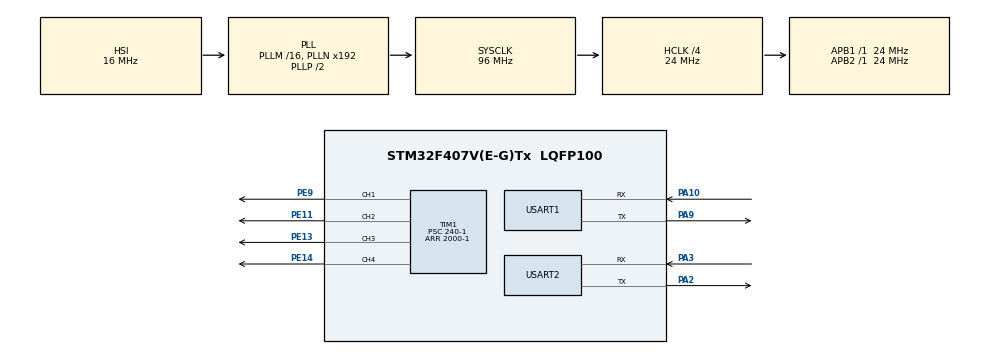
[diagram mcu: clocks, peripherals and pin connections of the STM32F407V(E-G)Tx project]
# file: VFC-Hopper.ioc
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Dma.Request0=USART2_RX
Dma.USART2_RX.0.Direction=DMA_PERIPH_TO_MEMORY
Dma.USART2_RX.0.FIFOMode=DMA_FIFOMODE_DISABLE
Dma.USART2_RX.0.Instance=DMA1_Stream5
Dma.USART2_RX.0.MemDataAlignment=DMA_MDATAALIGN_BYTE
Dma.USART2_RX.0.MemInc=DMA_MINC_ENABLE
Dma.USART2_RX.0.Mode=DMA_NORMAL
Dma.USART2_RX.0.PeriphDataAlignment=DMA_PDATAALIGN_BYTE
Dma.USART2_RX.0.PeriphInc=DMA_PINC_DISABLE
Dma.USART2_RX.0.Priority=DMA_PRIORITY_LOW
FREERTOS.BinarySemaphores01=semPWMPending,Dynamic,NULL;semUART2Data,Dynamic,NULL
FREERTOS.INCLUDE_pcTaskGetTaskName=1
FREERTOS.INCLUDE_uxTaskGetStackHighWaterMark2=1
FREERTOS.INCLUDE_xEventGroupSetBitFromISR=1
FREERTOS.INCLUDE_xSemaphoreGetMutexHolder=1
FREERTOS.INCLUDE_xTaskGetCurrentTaskHandle=1
FREERTOS.INCLUDE_xTaskGetHandle=1
FREERTOS.Tasks01=defaultTask,24,128,StartDefaultTask,Default,NULL,Dynamic,NULL,NULL;task_UpdatePWM,48,128,MTR_TaskUpdate,As external,NULL,Dynamic,NULL,NULL
FREERTOS.configGENERATE_RUN_TIME_STATS=1
FREERTOS.configUSE_STATS_FORMATTING_FUNCTIONS=1
Mcu.Family=STM32F4
Mcu.Name=STM32F407V(E-G)Tx
Mcu.Package=LQFP100
NVIC.DMA1_Stream5_IRQn=true\:5\:0\:false\:false\:true\:true\:false\:true
NVIC.PriorityGroup=NVIC_PRIORITYGROUP_4
NVIC.TIM2_IRQn=true\:0\:0\:false\:false\:true\:false\:false\:true
NVIC.TimeBase=TIM2_IRQn
NVIC.TimeBaseIP=TIM2
PA10.Mode=Asynchronous
PA10.Signal=USART1_RX
PA2.Mode=Asynchronous
PA2.Signal=USART2_TX
PA3.Mode=Asynchronous
PA3.Signal=USART2_RX
PA9.Mode=Asynchronous
PA9.Signal=USART1_TX
PE11.Signal=S_TIM1_CH2
PE13.Signal=S_TIM1_CH3
PE14.Signal=S_TIM1_CH4
PE9.Signal=S_TIM1_CH1
ProjectManager.HeapSize=0x200
ProjectManager.StackSize=0x400
ProjectManager.TargetToolchain=STM32CubeIDE
RCC.AHBCLKDivider=RCC_SYSCLK_DIV4
RCC.AHBFreq_Value=24000000
RCC.APB1Freq_Value=24000000
RCC.APB1TimFreq_Value=24000000
RCC.APB2Freq_Value=24000000
RCC.APB2TimFreq_Value=24000000
RCC.CortexFreq_Value=24000000
RCC.HCLKFreq_Value=24000000
RCC.HSE_VALUE=25000000
RCC.HSI_VALUE=16000000
RCC.LSE_VALUE=32768
RCC.SYSCLKFreq_VALUE=96000000
RCC.SYSCLKSource=RCC_SYSCLKSOURCE_PLLCLK
RCC.VCOOutputFreq_Value=192000000
SH.S_TIM1_CH1.0=TIM1_CH1,PWM Generation1 CH1
SH.S_TIM1_CH2.0=TIM1_CH2,PWM Generation2 CH2
SH.S_TIM1_CH3.0=TIM1_CH3,PWM Generation3 CH3
SH.S_TIM1_CH4.0=TIM1_CH4,PWM Generation4 CH4
TIM1.Channel-PWM\ Generation1\ CH1=TIM_CHANNEL_1
TIM1.Channel-PWM\ Generation2\ CH2=TIM_CHANNEL_2
TIM1.Channel-PWM\ Generation3\ CH3=TIM_CHANNEL_3
TIM1.Channel-PWM\ Generation4\ CH4=TIM_CHANNEL_4
TIM1.CounterMode=TIM_COUNTERMODE_CENTERALIGNED1
TIM1.Period=2000-1
TIM1.Prescaler=240-1
TIM1.Pulse-PWM\ Generation1\ CH1=1005
TIM1.Pulse-PWM\ Generation2\ CH2=1005
TIM1.Pulse-PWM\ Generation3\ CH3=1005
TIM1.Pulse-PWM\ Generation4\ CH4=1005
USART1.VirtualMode=VM_ASYNC
USART2.VirtualMode=VM_ASYNC
VP_FREERTOS_VS_CMSIS_V2.Mode=CMSIS_V2
VP_SYS_VS_tim2.Mode=TIM2
board=custom

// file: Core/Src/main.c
/* USER CODE BEGIN Header */
/**
  ******************************************************************************
  * @file           : main.c
  * @brief          : Main program body
  ******************************************************************************
  * @attention
  *
  * <h2><center>&copy; Copyright (c) 2021 STMicroelectronics.
  * All rights reserved.</center></h2>
  *
  * This software component is licensed by ST under BSD 3-Clause license,
  * the "License"; You may not use this file except in compliance with the
  * License. You may obtain a copy of the License at:
  *                        opensource.org/licenses/BSD-3-Clause
  *
  ******************************************************************************
  */
/* USER CODE END Header */
#include "main.h"
#include "cmsis_os.h"

/* USER CODE BEGIN Includes */
#include <SEGGER_SYSVIEW.h>
#include "motor_driver.h"

#include "px4flow.h"
/* USER CODE END Includes */

/* USER CODE BEGIN PD */
#define UART2_BUFFER_SIZE 64
/* USER CODE END PD */

TIM_HandleTypeDef htim1;

UART_HandleTypeDef huart1;
UART_HandleTypeDef huart2;
DMA_HandleTypeDef hdma_usart2_rx;

/* Definitions for defaultTask */
osThreadId_t defaultTaskHandle;
const osThreadAttr_t defaultTask_attributes = {
  .name = "defaultTask",
  .priority = (osPriority_t) osPriorityNormal,
  .stack_size = 128 * 4
};
/* Definitions for task_UpdatePWM */
osThreadId_t task_UpdatePWMHandle;
const osThreadAttr_t task_UpdatePWM_attributes = {
  .name = "task_UpdatePWM",
  .priority = (osPriority_t) osPriorityRealtime,
  .stack_size = 128 * 4
};
/* Definitions for semPWMPending */
osSemaphoreId_t semPWMPendingHandle;
const osSemaphoreAttr_t semPWMPending_attributes = {
  .name = "semPWMPending"
};
/* Definitions for semUART2Data */
osSemaphoreId_t semUART2DataHandle;
const osSemaphoreAttr_t semUART2Data_attributes = {
  .name = "semUART2Data"
};
/* USER CODE BEGIN PV */
uint8_t uart2Buffer[UART2_BUFFER_SIZE] = {0};

uint8_t mavlinkBuffer[300] = {0};
size_t 	mavlinkBufferIdx = 0;
/* USER CODE END PV */

void SystemClock_Config(void);
static void MX_GPIO_Init(void);
static void MX_DMA_Init(void);
static void MX_TIM1_Init(void);
static void MX_USART2_UART_Init(void);
static void MX_USART1_UART_Init(void);
void StartDefaultTask(void *argument);
extern void MTR_TaskUpdate(void *argument);

int main(void)
{

  /* MCU Configuration--------------------------------------------------------*/

  /* Reset of all peripherals, Initializes the Flash interface and the Systick. */
  HAL_Init();

  /* Configure the system clock */
  SystemClock_Config();

  /* USER CODE BEGIN SysInit */
  SEGGER_SYSVIEW_Conf();

  /* USER CODE END SysInit */

  /* Initialize all configured peripherals */
  MX_GPIO_Init();
  MX_DMA_Init();
  MX_TIM1_Init();
  MX_USART2_UART_Init();
  MX_USART1_UART_Init();
  /* USER CODE BEGIN 2 */
  HAL_TIM_PWM_Start(&htim1, TIM_CHANNEL_1);
  HAL_TIM_PWM_Start(&htim1, TIM_CHANNEL_2);
  HAL_TIM_PWM_Start(&htim1, TIM_CHANNEL_3);
  HAL_TIM_PWM_Start(&htim1, TIM_CHANNEL_4);
 // UART2_Read();
  HAL_UART_Receive_DMA(&huart2, &uart2Buffer, UART2_BUFFER_SIZE);
  MTR_Init(&htim1, &semPWMPendingHandle);

  /* USER CODE END 2 */

  /* Init scheduler */
  osKernelInitialize();

  /* Create the semaphores(s) */
  /* creation of semPWMPending */
  semPWMPendingHandle = osSemaphoreNew(1, 1, &semPWMPending_attributes);

  /* creation of semUART2Data */
  semUART2DataHandle = osSemaphoreNew(1, 1, &semUART2Data_attributes);

  /* Create the thread(s) */
  /* creation of defaultTask */
  defaultTaskHandle = osThreadNew(StartDefaultTask, NULL, &defaultTask_attributes);

  /* creation of task_UpdatePWM */
  task_UpdatePWMHandle = osThreadNew(MTR_TaskUpdate, NULL, &task_UpdatePWM_attributes);

  /* Start scheduler */
  osKernelStart();

  /* We should never get here as control is now taken by the scheduler */
  /* Infinite loop */
  while (1)
  {

  }
}

void SystemClock_Config(void)
{
  RCC_OscInitTypeDef RCC_OscInitStruct = {0};
  RCC_ClkInitTypeDef RCC_ClkInitStruct = {0};

  /** Configure the main internal regulator output voltage
  */
  __HAL_RCC_PWR_CLK_ENABLE();
  __HAL_PWR_VOLTAGESCALING_CONFIG(PWR_REGULATOR_VOLTAGE_SCALE1);
  /** Initializes the RCC Oscillators according to the specified parameters
  * in the RCC_OscInitTypeDef structure.
  */
  RCC_OscInitStruct.OscillatorType = RCC_OSCILLATORTYPE_HSI;
  RCC_OscInitStruct.HSIState = RCC_HSI_ON;
  RCC_OscInitStruct.HSICalibrationValue = RCC_HSICALIBRATION_DEFAULT;
  RCC_OscInitStruct.PLL.PLLState = RCC_PLL_ON;
  RCC_OscInitStruct.PLL.PLLSource = RCC_PLLSOURCE_HSI;
  RCC_OscInitStruct.PLL.PLLM = 16;
  RCC_OscInitStruct.PLL.PLLN = 192;
  RCC_OscInitStruct.PLL.PLLP = RCC_PLLP_DIV2;
  RCC_OscInitStruct.PLL.PLLQ = 4;
  if (HAL_RCC_OscConfig(&RCC_OscInitStruct) != HAL_OK)
  {
    Error_Handler();
  }
  /** Initializes the CPU, AHB and APB buses clocks
  */
  RCC_ClkInitStruct.ClockType = RCC_CLOCKTYPE_HCLK|RCC_CLOCKTYPE_SYSCLK
                              |RCC_CLOCKTYPE_PCLK1|RCC_CLOCKTYPE_PCLK2;
  RCC_ClkInitStruct.SYSCLKSource = RCC_SYSCLKSOURCE_PLLCLK;
  RCC_ClkInitStruct.AHBCLKDivider = RCC_SYSCLK_DIV4;
  RCC_ClkInitStruct.APB1CLKDivider = RCC_HCLK_DIV1;
  RCC_ClkInitStruct.APB2CLKDivider = RCC_HCLK_DIV1;

  if (HAL_RCC_ClockConfig(&RCC_ClkInitStruct, FLASH_LATENCY_0) != HAL_OK)
  {
    Error_Handler();
  }
}

static void MX_TIM1_Init(void)
{

  TIM_MasterConfigTypeDef sMasterConfig = {0};
  TIM_OC_InitTypeDef sConfigOC = {0};
  TIM_BreakDeadTimeConfigTypeDef sBreakDeadTimeConfig = {0};

  htim1.Instance = TIM1;
  htim1.Init.Prescaler = 240-1;
  htim1.Init.CounterMode = TIM_COUNTERMODE_CENTERALIGNED1;
  htim1.Init.Period = 2000-1;
  htim1.Init.ClockDivision = TIM_CLOCKDIVISION_DIV1;
  htim1.Init.RepetitionCounter = 0;
  htim1.Init.AutoReloadPreload = TIM_AUTORELOAD_PRELOAD_DISABLE;
  if (HAL_TIM_PWM_Init(&htim1) != HAL_OK)
  {
    Error_Handler();
  }
  sMasterConfig.MasterOutputTrigger = TIM_TRGO_RESET;
  sMasterConfig.MasterSlaveMode = TIM_MASTERSLAVEMODE_DISABLE;
  if (HAL_TIMEx_MasterConfigSynchronization(&htim1, &sMasterConfig) != HAL_OK)
  {
    Error_Handler();
  }
  sConfigOC.OCMode = TIM_OCMODE_PWM1;
  sConfigOC.Pulse = 1005;
  sConfigOC.OCPolarity = TIM_OCPOLARITY_HIGH;
  sConfigOC.OCNPolarity = TIM_OCNPOLARITY_HIGH;
  sConfigOC.OCFastMode = TIM_OCFAST_DISABLE;
  sConfigOC.OCIdleState = TIM_OCIDLESTATE_RESET;
  sConfigOC.OCNIdleState = TIM_OCNIDLESTATE_RESET;
  if (HAL_TIM_PWM_ConfigChannel(&htim1, &sConfigOC, TIM_CHANNEL_1) != HAL_OK)
  {
    Error_Handler();
  }
  if (HAL_TIM_PWM_ConfigChannel(&htim1, &sConfigOC, TIM_CHANNEL_2) != HAL_OK)
  {
    Error_Handler();
  }
  if (HAL_TIM_PWM_ConfigChannel(&htim1, &sConfigOC, TIM_CHANNEL_3) != HAL_OK)
  {
    Error_Handler();
  }
  if (HAL_TIM_PWM_ConfigChannel(&htim1, &sConfigOC, TIM_CHANNEL_4) != HAL_OK)
  {
    Error_Handler();
  }
  sBreakDeadTimeConfig.OffStateRunMode = TIM_OSSR_DISABLE;
  sBreakDeadTimeConfig.OffStateIDLEMode = TIM_OSSI_DISABLE;
  sBreakDeadTimeConfig.LockLevel = TIM_LOCKLEVEL_OFF;
  sBreakDeadTimeConfig.DeadTime = 0;
  sBreakDeadTimeConfig.BreakState = TIM_BREAK_DISABLE;
  sBreakDeadTimeConfig.BreakPolarity = TIM_BREAKPOLARITY_HIGH;
  sBreakDeadTimeConfig.AutomaticOutput = TIM_AUTOMATICOUTPUT_DISABLE;
  if (HAL_TIMEx_ConfigBreakDeadTime(&htim1, &sBreakDeadTimeConfig) != HAL_OK)
  {
    Error_Handler();
  }
  HAL_TIM_MspPostInit(&htim1);

}

static void MX_USART1_UART_Init(void)
{

  huart1.Instance = USART1;
  huart1.Init.BaudRate = 115200;
  huart1.Init.WordLength = UART_WORDLENGTH_8B;
  huart1.Init.StopBits = UART_STOPBITS_1;
  huart1.Init.Parity = UART_PARITY_NONE;
  huart1.Init.Mode = UART_MODE_TX_RX;
  huart1.Init.HwFlowCtl = UART_HWCONTROL_NONE;
  huart1.Init.OverSampling = UART_OVERSAMPLING_16;
  if (HAL_UART_Init(&huart1) != HAL_OK)
  {
    Error_Handler();
  }

}

static void MX_USART2_UART_Init(void)
{

  huart2.Instance = USART2;
  huart2.Init.BaudRate = 115200;
  huart2.Init.WordLength = UART_WORDLENGTH_8B;
  huart2.Init.StopBits = UART_STOPBITS_1;
  huart2.Init.Parity = UART_PARITY_NONE;
  huart2.Init.Mode = UART_MODE_TX_RX;
  huart2.Init.HwFlowCtl = UART_HWCONTROL_NONE;
  huart2.Init.OverSampling = UART_OVERSAMPLING_16;
  if (HAL_UART_Init(&huart2) != HAL_OK)
  {
    Error_Handler();
  }

}

static void MX_DMA_Init(void)
{

  /* DMA controller clock enable */
  __HAL_RCC_DMA1_CLK_ENABLE();

  /* DMA interrupt init */
  /* DMA1_Stream5_IRQn interrupt configuration */
  HAL_NVIC_SetPriority(DMA1_Stream5_IRQn, 5, 0);
  HAL_NVIC_EnableIRQ(DMA1_Stream5_IRQn);

}

static void MX_GPIO_Init(void)
{

  /* GPIO Ports Clock Enable */
  __HAL_RCC_GPIOA_CLK_ENABLE();
  __HAL_RCC_GPIOE_CLK_ENABLE();

}

/* USER CODE BEGIN 4 */
void UART2_Read(){

	int toRead = pxParse(uart2Buffer, UART2_BUFFER_SIZE);
	memset(uart2Buffer, 0, UART2_BUFFER_SIZE);
	HAL_UART_Receive_DMA(&huart2, &uart2Buffer, UART2_BUFFER_SIZE);

}

void PXNewData(){
	//osSemaphoreRelease(semUART2DataHandle);
	//OpticalFlowMessage* msg = pxGetLatest();

	//char str[] = "Distance: %d\n";
	//char str2[1000];
	//sprintf(str2,str,msg->ground_distance);
	//HAL_UART_Transmit(&huart1, str2, strlen(str2), 100);
}

void ShiftBuffer(size_t offset){
	uint8_t* dest = uart2Buffer[0];
	memmove(dest, dest + offset, sizeof(uart2Buffer) - offset);
}

/* USER CODE END 4 */

void StartDefaultTask(void *argument)
{
  /* USER CODE BEGIN 5 */
  /* Infinite loop */

	/*
	 * size_t min[4] = {1005,1005,1005,1005};
	size_t max[4] = {1970,1970,1970,1970};
	MTR_UpdateState(min);
	osDelay(1000);
	MTR_UpdateState(max);
	osDelay(1000);
	MTR_UpdateState(min);
	osDelay(1000);
	 */
	OpticalFlowMessage msg = {0};
  for(;;)
  {

	  if(osSemaphoreAcquire(semUART2DataHandle, 50) == osOK){

	  }
	  osDelay(10);

  }
  /* USER CODE END 5 */
}

 /**
  * @brief  Period elapsed callback in non blocking mode
  * @note   This function is called  when TIM2 interrupt took place, inside
  * HAL_TIM_IRQHandler(). It makes a direct call to HAL_IncTick() to increment
  * a global variable "uwTick" used as application time base.
  * @param  htim : TIM handle
  * @retval None
  */
void HAL_TIM_PeriodElapsedCallback(TIM_HandleTypeDef *htim)
{
  if (htim->Instance == TIM2) {
    HAL_IncTick();
  }
}

void Error_Handler(void)
{
  __disable_irq();
  while (1)
  {
  }
}

/************************ (C) COPYRIGHT STMicroelectronics *****END OF FILE****/
